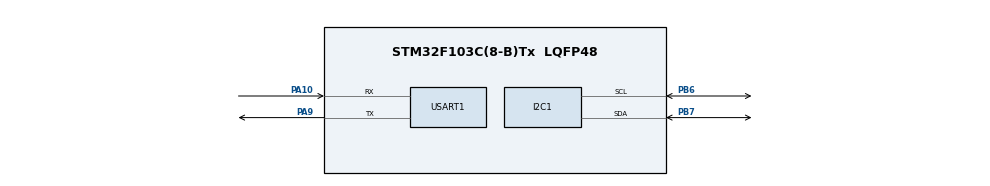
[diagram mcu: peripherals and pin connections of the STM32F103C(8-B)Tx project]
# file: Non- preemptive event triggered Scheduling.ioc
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Mcu.Family=STM32F1
Mcu.Name=STM32F103C(8-B)Tx
Mcu.Package=LQFP48
NVIC.PriorityGroup=NVIC_PRIORITYGROUP_4
NVIC.TIM1_BRK_IRQn=true\:0\:0\:false\:false\:true\:true\:true\:true
NVIC.TIM1_CC_IRQn=true\:0\:0\:false\:false\:true\:true\:true\:true
NVIC.TIM1_TRG_COM_IRQn=true\:0\:0\:false\:false\:true\:true\:true\:true
NVIC.TIM1_UP_IRQn=true\:0\:0\:false\:false\:true\:true\:true\:true
NVIC.TIM2_IRQn=true\:0\:0\:false\:false\:true\:true\:true\:true
NVIC.TIM3_IRQn=true\:0\:0\:false\:false\:true\:true\:true\:true
NVIC.TIM4_IRQn=true\:0\:0\:false\:false\:true\:true\:true\:true
PA10.Mode=Asynchronous
PA10.Signal=USART1_RX
PA13.Mode=Serial_Wire
PA13.Signal=SYS_JTMS-SWDIO
PA14.Mode=Serial_Wire
PA14.Signal=SYS_JTCK-SWCLK
PA9.Mode=Asynchronous
PA9.Signal=USART1_TX
PB6.Mode=I2C
PB6.Signal=I2C1_SCL
PB7.Mode=I2C
PB7.Signal=I2C1_SDA
ProjectManager.HeapSize=0x200
ProjectManager.StackSize=0x400
ProjectManager.TargetToolchain=STM32CubeIDE
RCC.APB1Freq_Value=8000000
RCC.APB2Freq_Value=8000000
TIM2.Prescaler=8399
USART1.VirtualMode=VM_ASYNC
VP_TIM1_VS_ClockSourceINT.Mode=Internal
VP_TIM2_VS_ClockSourceINT.Mode=Internal
VP_TIM3_VS_ClockSourceINT.Mode=Internal
VP_TIM4_VS_ClockSourceINT.Mode=Internal
board=custom

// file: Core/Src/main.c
/* USER CODE BEGIN Header */
/**
  ******************************************************************************
  * @file           : main.c
  * @brief          : Main program body
  ******************************************************************************
  * @attention
  *
  * Copyright (c) 2025 STMicroelectronics.
  * All rights reserved.
  *
  * This software is licensed under terms that can be found in the LICENSE file
  * in the root directory of this software component.
  * If no LICENSE file comes with this software, it is provided AS-IS.
  *
  ******************************************************************************
  */
/* USER CODE END Header */
#include "main.h"

/* USER CODE BEGIN Includes */
#include "DHT.h"
#include "lcd_i2c.h"
#include "stdio.h"
/* USER CODE END Includes */

I2C_HandleTypeDef hi2c1;

TIM_HandleTypeDef htim1;
TIM_HandleTypeDef htim2;
TIM_HandleTypeDef htim3;
TIM_HandleTypeDef htim4;

UART_HandleTypeDef huart1;

/* USER CODE BEGIN PV */
DHT_DataTypedef dht;
char message[300];
char temp[50];
char humid[50];
/* USER CODE END PV */

void SystemClock_Config(void);
static void MX_GPIO_Init(void);
static void MX_TIM2_Init(void);
static void MX_I2C1_Init(void);
static void MX_USART1_UART_Init(void);
static void MX_TIM1_Init(void);
static void MX_TIM3_Init(void);
static void MX_TIM4_Init(void);
/* USER CODE BEGIN PFP */
// Khai báo biến toàn cục
volatile uint8_t event_queue[10]; // Hàng đợi sự kiện
volatile uint8_t event_queue_head = 0; // Vị trí đầu hàng đợi
volatile uint8_t event_queue_tail = 0; // Vị trí cuối hàng đợi
/* USER CODE END PFP */

int main(void)
{

  /* MCU Configuration--------------------------------------------------------*/

  /* Reset of all peripherals, Initializes the Flash interface and the Systick. */
  HAL_Init();

  /* Configure the system clock */
  SystemClock_Config();

  /* Initialize all configured peripherals */
  MX_GPIO_Init();
  MX_TIM2_Init();
  MX_I2C1_Init();
  MX_USART1_UART_Init();
  MX_TIM1_Init();
  MX_TIM3_Init();
  MX_TIM4_Init();
  /* USER CODE BEGIN 2 */
  lcd_init();

  HAL_TIM_Base_Start_IT(&htim1); // Bắt đầu timer với ngắt
  HAL_TIM_Base_Start_IT(&htim2);
  HAL_TIM_Base_Start_IT(&htim3);
//HAL_TIM_Base_Start_IT(&htim4);
  /* USER CODE END 2 */

  /* Infinite loop */
  while (1)
    {
	  // Vòng lặp chính

	         if (event_queue_head == event_queue_tail) {
	             // Hàng đợi rỗng, đưa CPU vào chế độ năng lượng thấp
	             __WFI(); // Chờ ngắt để tiết kiệm năng lượng
	         } else {
	             // Hàng đợi không rỗng, xử lý sự kiện
	             process_events();

	     }
  }
}

void SystemClock_Config(void)
{
  RCC_OscInitTypeDef RCC_OscInitStruct = {0};
  RCC_ClkInitTypeDef RCC_ClkInitStruct = {0};

  /** Initializes the RCC Oscillators according to the specified parameters
  * in the RCC_OscInitTypeDef structure.
  */
  RCC_OscInitStruct.OscillatorType = RCC_OSCILLATORTYPE_HSI;
  RCC_OscInitStruct.HSIState = RCC_HSI_ON;
  RCC_OscInitStruct.HSICalibrationValue = RCC_HSICALIBRATION_DEFAULT;
  RCC_OscInitStruct.PLL.PLLState = RCC_PLL_NONE;
  if (HAL_RCC_OscConfig(&RCC_OscInitStruct) != HAL_OK)
  {
    Error_Handler();
  }

  /** Initializes the CPU, AHB and APB buses clocks
  */
  RCC_ClkInitStruct.ClockType = RCC_CLOCKTYPE_HCLK|RCC_CLOCKTYPE_SYSCLK
                              |RCC_CLOCKTYPE_PCLK1|RCC_CLOCKTYPE_PCLK2;
  RCC_ClkInitStruct.SYSCLKSource = RCC_SYSCLKSOURCE_HSI;
  RCC_ClkInitStruct.AHBCLKDivider = RCC_SYSCLK_DIV1;
  RCC_ClkInitStruct.APB1CLKDivider = RCC_HCLK_DIV1;
  RCC_ClkInitStruct.APB2CLKDivider = RCC_HCLK_DIV1;

  if (HAL_RCC_ClockConfig(&RCC_ClkInitStruct, FLASH_LATENCY_0) != HAL_OK)
  {
    Error_Handler();
  }
}

static void MX_I2C1_Init(void)
{

  hi2c1.Instance = I2C1;
  hi2c1.Init.ClockSpeed = 100000;
  hi2c1.Init.DutyCycle = I2C_DUTYCYCLE_2;
  hi2c1.Init.OwnAddress1 = 0;
  hi2c1.Init.AddressingMode = I2C_ADDRESSINGMODE_7BIT;
  hi2c1.Init.DualAddressMode = I2C_DUALADDRESS_DISABLE;
  hi2c1.Init.OwnAddress2 = 0;
  hi2c1.Init.GeneralCallMode = I2C_GENERALCALL_DISABLE;
  hi2c1.Init.NoStretchMode = I2C_NOSTRETCH_DISABLE;
  if (HAL_I2C_Init(&hi2c1) != HAL_OK)
  {
    Error_Handler();
  }

}

static void MX_TIM1_Init(void)
{

  TIM_ClockConfigTypeDef sClockSourceConfig = {0};
  TIM_MasterConfigTypeDef sMasterConfig = {0};

  htim1.Instance = TIM1;
  htim1.Init.Prescaler = 609;
  htim1.Init.CounterMode = TIM_COUNTERMODE_UP;
  htim1.Init.Period = 65535;
  htim1.Init.ClockDivision = TIM_CLOCKDIVISION_DIV1;
  htim1.Init.RepetitionCounter = 0;
  htim1.Init.AutoReloadPreload = TIM_AUTORELOAD_PRELOAD_DISABLE;
  if (HAL_TIM_Base_Init(&htim1) != HAL_OK)
  {
    Error_Handler();
  }
  sClockSourceConfig.ClockSource = TIM_CLOCKSOURCE_INTERNAL;
  if (HAL_TIM_ConfigClockSource(&htim1, &sClockSourceConfig) != HAL_OK)
  {
    Error_Handler();
  }
  sMasterConfig.MasterOutputTrigger = TIM_TRGO_RESET;
  sMasterConfig.MasterSlaveMode = TIM_MASTERSLAVEMODE_DISABLE;
  if (HAL_TIMEx_MasterConfigSynchronization(&htim1, &sMasterConfig) != HAL_OK)
  {
    Error_Handler();
  }

}

static void MX_TIM2_Init(void)
{

  TIM_ClockConfigTypeDef sClockSourceConfig = {0};
  TIM_MasterConfigTypeDef sMasterConfig = {0};

  htim2.Instance = TIM2;
  htim2.Init.Prescaler = 731;
  htim2.Init.CounterMode = TIM_COUNTERMODE_UP;
  htim2.Init.Period = 65535;
  htim2.Init.ClockDivision = TIM_CLOCKDIVISION_DIV1;
  htim2.Init.AutoReloadPreload = TIM_AUTORELOAD_PRELOAD_DISABLE;
  if (HAL_TIM_Base_Init(&htim2) != HAL_OK)
  {
    Error_Handler();
  }
  sClockSourceConfig.ClockSource = TIM_CLOCKSOURCE_INTERNAL;
  if (HAL_TIM_ConfigClockSource(&htim2, &sClockSourceConfig) != HAL_OK)
  {
    Error_Handler();
  }
  sMasterConfig.MasterOutputTrigger = TIM_TRGO_RESET;
  sMasterConfig.MasterSlaveMode = TIM_MASTERSLAVEMODE_DISABLE;
  if (HAL_TIMEx_MasterConfigSynchronization(&htim2, &sMasterConfig) != HAL_OK)
  {
    Error_Handler();
  }

}

static void MX_TIM3_Init(void)
{

  TIM_ClockConfigTypeDef sClockSourceConfig = {0};
  TIM_MasterConfigTypeDef sMasterConfig = {0};

  htim3.Instance = TIM3;
  htim3.Init.Prescaler = 853;
  htim3.Init.CounterMode = TIM_COUNTERMODE_UP;
  htim3.Init.Period = 65535;
  htim3.Init.ClockDivision = TIM_CLOCKDIVISION_DIV1;
  htim3.Init.AutoReloadPreload = TIM_AUTORELOAD_PRELOAD_DISABLE;
  if (HAL_TIM_Base_Init(&htim3) != HAL_OK)
  {
    Error_Handler();
  }
  sClockSourceConfig.ClockSource = TIM_CLOCKSOURCE_INTERNAL;
  if (HAL_TIM_ConfigClockSource(&htim3, &sClockSourceConfig) != HAL_OK)
  {
    Error_Handler();
  }
  sMasterConfig.MasterOutputTrigger = TIM_TRGO_RESET;
  sMasterConfig.MasterSlaveMode = TIM_MASTERSLAVEMODE_DISABLE;
  if (HAL_TIMEx_MasterConfigSynchronization(&htim3, &sMasterConfig) != HAL_OK)
  {
    Error_Handler();
  }

}

static void MX_TIM4_Init(void)
{

  TIM_ClockConfigTypeDef sClockSourceConfig = {0};
  TIM_MasterConfigTypeDef sMasterConfig = {0};

  htim4.Instance = TIM4;
  htim4.Init.Prescaler = 0;
  htim4.Init.CounterMode = TIM_COUNTERMODE_UP;
  htim4.Init.Period = 65535;
  htim4.Init.ClockDivision = TIM_CLOCKDIVISION_DIV1;
  htim4.Init.AutoReloadPreload = TIM_AUTORELOAD_PRELOAD_DISABLE;
  if (HAL_TIM_Base_Init(&htim4) != HAL_OK)
  {
    Error_Handler();
  }
  sClockSourceConfig.ClockSource = TIM_CLOCKSOURCE_INTERNAL;
  if (HAL_TIM_ConfigClockSource(&htim4, &sClockSourceConfig) != HAL_OK)
  {
    Error_Handler();
  }
  sMasterConfig.MasterOutputTrigger = TIM_TRGO_RESET;
  sMasterConfig.MasterSlaveMode = TIM_MASTERSLAVEMODE_DISABLE;
  if (HAL_TIMEx_MasterConfigSynchronization(&htim4, &sMasterConfig) != HAL_OK)
  {
    Error_Handler();
  }

}

static void MX_USART1_UART_Init(void)
{

  huart1.Instance = USART1;
  huart1.Init.BaudRate = 115200;
  huart1.Init.WordLength = UART_WORDLENGTH_8B;
  huart1.Init.StopBits = UART_STOPBITS_1;
  huart1.Init.Parity = UART_PARITY_NONE;
  huart1.Init.Mode = UART_MODE_TX_RX;
  huart1.Init.HwFlowCtl = UART_HWCONTROL_NONE;
  huart1.Init.OverSampling = UART_OVERSAMPLING_16;
  if (HAL_UART_Init(&huart1) != HAL_OK)
  {
    Error_Handler();
  }

}

static void MX_GPIO_Init(void)
{

  /* GPIO Ports Clock Enable */
  __HAL_RCC_GPIOA_CLK_ENABLE();
  __HAL_RCC_GPIOB_CLK_ENABLE();

}

/* USER CODE BEGIN 4 */
void task1(){
	 //HAL_GPIO_TogglePin(GPIOA, GPIO_PIN_5);
	DHT_GetData(&dht);
	//add_event(1);
}

void task2(){
	 //HAL_GPIO_TogglePin(GPIOA, GPIO_PIN_6);
	uint8_t length = snprintf(message, sizeof(message), "Nhiet do: %f va Do am: %f", dht.Temperature, dht.Humidity);
	HAL_UART_Transmit(&huart1, (uint8_t*)message, length, HAL_MAX_DELAY);
	//add_event(2);
}

void task3(){
	//HAL_GPIO_TogglePin(GPIOA, GPIO_PIN_7);
	lcd_put_cur(0,0);
	snprintf(temp,sizeof(temp),"Nhiet do: %f",dht.Temperature);
	snprintf(humid,sizeof(humid),"Do am : %f",dht.Humidity);
	lcd_send_string(temp);
	lcd_put_cur(1,0);
	lcd_send_string(humid);
	//add_event(3);
//HAL_Delay(1000);
}

void add_event(uint8_t event) {
    event_queue[event_queue_tail] = event;
    event_queue_tail = (event_queue_tail + 1) % 10;
}

uint8_t get_event(void) {
    if (event_queue_head == event_queue_tail) {
        return 0xFF; // No event
    }
    uint8_t event = event_queue[event_queue_head];
    event_queue_head = (event_queue_head + 1) % 10;
    return event;
}

void process_events(void) {
    uint8_t event;
    do {
        event = get_event();
        if (event != 0xFF) {
            switch (event) {
                case 1:
                    task1();
                    break;
                case 2:
                    task2();
                    break;
                case 3:
                    task3();
                    break;
                default:
                    break;
            }
        }
    } while (event != 0xFF); // Thoát khi không có sự kiện
}
void HAL_TIM_PeriodElapsedCallback(TIM_HandleTypeDef *htim) {
	if (htim->Instance == TIM2) {
	        static uint8_t event_counter = 2;
	        add_event(event_counter); // Thêm sự kiện vào hàng đợi
	       // event_counter = (event_counter % 3) + 1; // Cập nhật sự kiện tiếp theo
	    }
	if (htim->Instance == TIM3) {
		        static uint8_t event_counter = 3;
		        add_event(event_counter); // Thêm sự kiện vào hàng đợi
		       // event_counter = (event_counter % 3) + 1; // Cập nhật sự kiện tiếp theo
		    }
	//if (htim->Instance == TIM4) {
		//        static uint8_t event_counter = 4;
		//        add_event(event_counter); // Thêm sự kiện vào hàng đợi
		       // event_counter = (event_counter % 3) + 1; // Cập nhật sự kiện tiếp theo
		 //   }
	if (htim->Instance == TIM1) {
		        static uint8_t event_counter = 1;
		        add_event(event_counter); // Thêm sự kiện vào hàng đợi
		        //event_counter = (event_counter % 3) + 1; // Cập nhật sự kiện tiếp theo
		    }
}
/* USER CODE END 4 */

void Error_Handler(void)
{
  __disable_irq();
  while (1)
  {
  }
}
